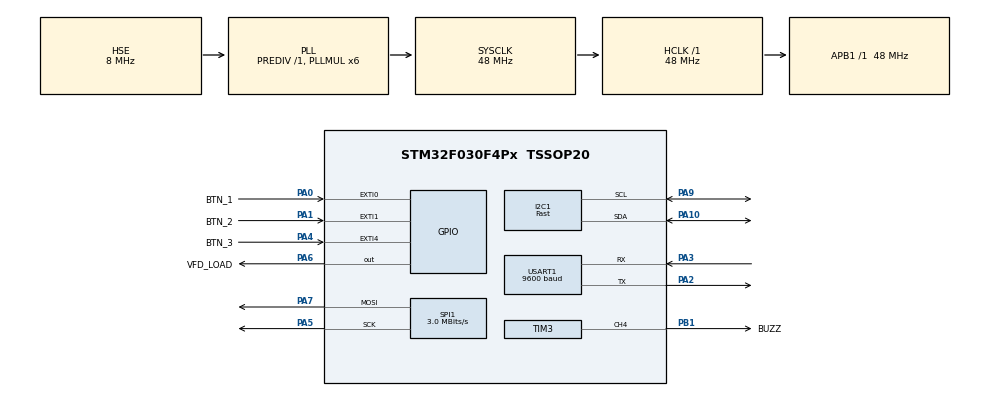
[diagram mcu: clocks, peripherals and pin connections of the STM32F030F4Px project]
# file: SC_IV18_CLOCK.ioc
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I2C1.I2C_Speed_Mode=I2C_Fast
I2C1.Timing=0x0090194B
Mcu.Family=STM32F0
Mcu.Name=STM32F030F4Px
Mcu.Package=TSSOP20
NVIC.EXTI0_1_IRQn=true\:0\:0\:false\:false\:true\:true\:true\:true
NVIC.EXTI4_15_IRQn=true\:0\:0\:false\:false\:true\:true\:true\:true
NVIC.I2C1_IRQn=true\:0\:0\:false\:false\:true\:true\:true\:true
NVIC.TIM14_IRQn=true\:0\:0\:true\:false\:true\:true\:true\:true
NVIC.TIM1_BRK_UP_TRG_COM_IRQn=true\:0\:0\:false\:false\:true\:true\:true\:true
NVIC.USART1_IRQn=true\:2\:0\:true\:false\:true\:true\:true\:true
PA0.GPIO_Label=BTN_1
PA0.Signal=GPXTI0
PA1.GPIO_Label=BTN_2
PA1.Signal=GPXTI1
PA10.GPIO_Pu=GPIO_PULLUP
PA10.Mode=I2C
PA10.Signal=I2C1_SDA
PA13.Mode=Serial_Wire
PA13.Signal=SYS_SWDIO
PA14.Mode=Serial_Wire
PA14.Signal=SYS_SWCLK
PA2.Mode=Asynchronous
PA2.Signal=USART1_TX
PA3.Mode=Asynchronous
PA3.Signal=USART1_RX
PA4.GPIO_Label=BTN_3
PA4.Signal=GPXTI4
PA5.Mode=TX_Only_Simplex_Unidirect_Master
PA5.Signal=SPI1_SCK
PA6.GPIO_Label=VFD_LOAD
PA6.GPIO_Speed=GPIO_SPEED_FREQ_MEDIUM
PA6.Signal=GPIO_Output
PA7.Mode=TX_Only_Simplex_Unidirect_Master
PA7.Signal=SPI1_MOSI
PA9.GPIO_Pu=GPIO_PULLUP
PA9.Mode=I2C
PA9.Signal=I2C1_SCL
PB1.GPIO_Label=BUZZ
PB1.Signal=S_TIM3_CH4
PF0-OSC_IN.Mode=HSE-External-Oscillator
PF0-OSC_IN.Signal=RCC_OSC_IN
PF1-OSC_OUT.Mode=HSE-External-Oscillator
PF1-OSC_OUT.Signal=RCC_OSC_OUT
ProjectManager.HeapSize=0x200
ProjectManager.StackSize=0x400
ProjectManager.TargetToolchain=STM32CubeIDE
RCC.AHBFreq_Value=48000000
RCC.APB1Freq_Value=48000000
RCC.APB1TimFreq_Value=48000000
RCC.HCLKFreq_Value=48000000
RCC.I2c1ClockSelection=RCC_I2C1CLKSOURCE_SYSCLK
RCC.PLLMUL=RCC_PLL_MUL6
RCC.PLLSourceVirtual=RCC_PLLSOURCE_HSE
RCC.SYSCLKFreq_VALUE=48000000
RCC.SYSCLKSource=RCC_SYSCLKSOURCE_PLLCLK
RCC.Usart1ClockSelection=RCC_USART1CLKSOURCE_SYSCLK
SH.S_TIM3_CH4.0=TIM3_CH4,PWM Generation4 CH4
SPI1.BaudRatePrescaler=SPI_BAUDRATEPRESCALER_16
SPI1.CalculateBaudRate=3.0 MBits/s
SPI1.DataSize=SPI_DATASIZE_8BIT
SPI1.Direction=SPI_DIRECTION_2LINES
SPI1.FirstBit=SPI_FIRSTBIT_MSB
SPI1.Mode=SPI_MODE_MASTER
SPI1.VirtualType=VM_MASTER
TIM1.Period=499
TIM1.Prescaler=48000-1
TIM1.TIM_MasterOutputTrigger=TIM_TRGO_UPDATE
TIM14.Period=124
TIM14.Prescaler=47
TIM3.Channel-PWM\ Generation4\ CH4=TIM_CHANNEL_4
TIM3.Period=200
TIM3.Prescaler=479
TIM3.Pulse-PWM\ Generation4\ CH4=120
USART1.BaudRate=9600
USART1.VirtualMode-Asynchronous=VM_ASYNC
VP_TIM14_VS_ClockSourceINT.Mode=Enable_Timer
VP_TIM1_VS_ClockSourceINT.Mode=Internal
board=custom

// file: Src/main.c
/* USER CODE BEGIN Header */
/**
 ******************************************************************************
 * @file           : main.c
 * @brief          : Main program body
 ******************************************************************************
 * @attention
 *
 * <h2><center>&copy; Copyright (c) 2019 STMicroelectronics.
 * All rights reserved.</center></h2>
 *
 * This software component is licensed by ST under BSD 3-Clause license,
 * the "License"; You may not use this file except in compliance with the
 * License. You may obtain a copy of the License at:
 *                        opensource.org/licenses/BSD-3-Clause
 *
 ******************************************************************************
 */
/* USER CODE END Header */
#include "main.h"
#include "i2c.h"
#include "spi.h"
#include "tim.h"
#include "usart.h"
#include "gpio.h"

/* USER CODE BEGIN Includes */

#include "ds3231.h"
#include "uart_at.h"

/* USER CODE END Includes */

/* USER CODE BEGIN PD */

#define VFD_LOAD_ON  HAL_GPIO_WritePin(VFD_LOAD_GPIO_Port, VFD_LOAD_Pin, GPIO_PIN_SET)
#define VFD_LOAD_OFF HAL_GPIO_WritePin(VFD_LOAD_GPIO_Port, VFD_LOAD_Pin, GPIO_PIN_RESET)

#define VFD_SEG_A 0b00000010
#define VFD_SEG_B 0b00000100
#define VFD_SEG_C 0b00001000
#define VFD_SEG_D 0b00010000
#define VFD_SEG_E 0b00100000
#define VFD_SEG_F 0b01000000
#define VFD_SEG_G 0b10000000

#define VFD_DIGIT_0 (VFD_SEG_A | VFD_SEG_B | VFD_SEG_C | VFD_SEG_D | VFD_SEG_E | VFD_SEG_F)
#define VFD_DIGIT_1 (VFD_SEG_B | VFD_SEG_C)
#define VFD_DIGIT_2 (VFD_SEG_A | VFD_SEG_B | VFD_SEG_D | VFD_SEG_E | VFD_SEG_G)
#define VFD_DIGIT_3 (VFD_SEG_A | VFD_SEG_B | VFD_SEG_C | VFD_SEG_D | VFD_SEG_G)
#define VFD_DIGIT_4 (VFD_SEG_B | VFD_SEG_C | VFD_SEG_F | VFD_SEG_G)
#define VFD_DIGIT_5 (VFD_SEG_A | VFD_SEG_C | VFD_SEG_D | VFD_SEG_F | VFD_SEG_G)
#define VFD_DIGIT_6 (VFD_SEG_A | VFD_SEG_C | VFD_SEG_D | VFD_SEG_E | VFD_SEG_F | VFD_SEG_G)
#define VFD_DIGIT_7 (VFD_SEG_A | VFD_SEG_B | VFD_SEG_C)
#define VFD_DIGIT_8 (VFD_SEG_A | VFD_SEG_B | VFD_SEG_C | VFD_SEG_D | VFD_SEG_E | VFD_SEG_F | VFD_SEG_G)
#define VFD_DIGIT_9 (VFD_SEG_A | VFD_SEG_B | VFD_SEG_C | VFD_SEG_D | VFD_SEG_F | VFD_SEG_G)

#define VFD_CHAR_MINUS  VFD_SEG_G
#define VFD_CHAR_DEGREE (VFD_SEG_A | VFD_SEG_B | VFD_SEG_F | VFD_SEG_G)
#define VFD_CHAR_C      (VFD_SEG_A | VFD_SEG_E | VFD_SEG_D | VFD_SEG_F)

#define MODE_SHOW_TIME     1
#define MODE_SHOW_DATE     2
#define MODE_SHOW_TEMP_DAY 3

#define RX_BUF_SIZE 64

// Settings modes - declared but not yet wired to UI.
// Kept here to show the planned state machine; see TODO in
// HAL_GPIO_EXTI_Callback for BTN_1 / BTN_2.
//
// Current firmware cycles BTN_3 only between MODE_SHOW_* (see below).
#define MODE_SETTINGS_TIME_HOURS       4
#define MODE_SETTINGS_TIME_MINUTES     5
#define MODE_SETTINGS_DATE_DAY         6
#define MODE_SETTINGS_DATE_MONTH       7
#define MODE_SETTINGS_DATE_YEAR        8
#define MODE_SETTINGS_DATE_DAY_OF_WEEK 9
#define MODE_SETTINGS_LAST_POSITION    MODE_SETTINGS_DATE_DAY_OF_WEEK

#define SELECTED_POSITION_FIRST  0
#define SELECTED_POSITION_SECOND 1
#define SELECTED_POSITION_THIRD  2
#define SELECTED_POSITION_LAST   SELECTED_POSITION_THIRD

#define MODE_TIMEOUT_TIME  35
#define MODE_TIMEOUT_DATE  9
#define MODE_TIMEOUT_OTHER 5

#define VFD_BR_MAX      8
#define BREATH_STEP_MS  90    // ms per step; 90 × 16 = 1.45 s/cycle
#define ANIM_STEP_MS    60
#define NOT_DIGIT_VALUE 0xFF
/* USER CODE END PD */

/* USER CODE BEGIN PV */
static const uint8_t VFD_GRIDS[] = {
    0,
    0b00000001,    //	1
    0b00000010,    //	2
    0b00000100,    //	3
    0b00001000,    //	4
    0b00010000,    //	5
    0b01000000,    //	6
    0b00100000,    //	7
    0b10000000,    //	8
};

static const uint8_t VFD_DIGITS[] = {VFD_DIGIT_0, VFD_DIGIT_1, VFD_DIGIT_2, VFD_DIGIT_3, VFD_DIGIT_4,
                                     VFD_DIGIT_5, VFD_DIGIT_6, VFD_DIGIT_7, VFD_DIGIT_8, VFD_DIGIT_9};

static const uint8_t gamma_lut[] = {1, 1, 2, 3, 4, 5, 6, 8, 8, 6, 5, 4, 3, 2, 1, 1};

#define GAMMA_STEPS (sizeof(gamma_lut))

static uint8_t breathIdx = 0;
static uint32_t lastBreathTick = 0;

typedef struct {
    uint8_t segments;    // VFD_DIGIT_x / VFD_CHAR_x / 0
    uint8_t dot;
    uint8_t brightness;    // 0..VFD_BR_MAX; for digits always = VFD_BR_MAX
} VfdCell;

volatile VfdCell frame[9];
volatile uint8_t curGrid = 1;

volatile uint8_t vfdBuf[3];

volatile uint8_t rxBuf[RX_BUF_SIZE];
volatile uint8_t rxHead = 0;
volatile uint8_t rxTail = 0;
volatile uint8_t echoEnabled = 1;    // ATE1/ATE0

volatile uint8_t selectedPos = SELECTED_POSITION_FIRST;
volatile uint8_t blinkers;
volatile uint8_t currentMode = MODE_SHOW_TIME;
volatile uint8_t modeTimeout = 0;
volatile uint8_t halfSeconds = 0;
volatile uint8_t shouldReadDS3231 = 0;

static uint8_t pwmPhase = 0;    // 0..VFD_BR_MAX-1, one step per frame

static uint8_t animationDigitCurrent[9];
static uint8_t animationDigitTarget[9];
static uint8_t isAnimationInProgress = 0;
static uint32_t lastAnimationTick = 0;

volatile uint8_t pendingMode = 0;
volatile uint8_t pendingTransition = 0;

/* USER CODE END PV */

void SystemClock_Config(void);
/* USER CODE BEGIN PFP */
static inline void vfd_multiplex_tick(void);
static void build_frame(void);
static uint8_t breathing_level(void);
static void anim_start(uint8_t targetMode);
static void anim_step(void);
static uint8_t fwd_dist(uint8_t a, uint8_t b);
static void fill_target_digits(uint8_t mode, uint8_t *t);
/* USER CODE END PFP */

/* USER CODE BEGIN 0 */
void HAL_GPIO_EXTI_Callback(uint16_t GPIO_Pin) {
    switch (GPIO_Pin) {
    case BTN_1_Pin:
        // TODO: select next position within current settings mode
        //       (see MODE_SETTINGS_* and selectedPos in this file).
        break;

    case BTN_2_Pin:
        // TODO: change value at selectedPos (increment / decrement
        //       depending on long/short press, with debounce).
        break;

    case BTN_3_Pin:
        currentMode++;

        // TODO: extend upper bound to MODE_SETTINGS_LAST_POSITION
        //       when settings UI (BTN_1 / BTN_2 handling) is implemented.
        if (currentMode > MODE_SHOW_TEMP_DAY) {
            currentMode = MODE_SHOW_TIME;
        }
        break;
    }
}

void HAL_TIM_PeriodElapsedCallback(TIM_HandleTypeDef *htim) {
    if (htim->Instance == TIM14) {
        vfd_multiplex_tick();

        return;
    }

    if (htim->Instance == TIM1) {
        blinkers ^= 1 << 1;
        modeTimeout++;
        halfSeconds++;

        if (halfSeconds == 2) {
            halfSeconds = 0;
            shouldReadDS3231 = 1;
        }

        switch (currentMode) {
        case MODE_SHOW_TIME:
            if (modeTimeout == MODE_TIMEOUT_TIME) {
                modeTimeout = 0;
                pendingMode = MODE_SHOW_DATE;
                pendingTransition = 1;
            }
            break;
        case MODE_SHOW_DATE:
            if (modeTimeout == MODE_TIMEOUT_DATE) {
                modeTimeout = 0;
                pendingMode = MODE_SHOW_TEMP_DAY;
                pendingTransition = 1;
            }
            break;
        case MODE_SHOW_TEMP_DAY:
            if (modeTimeout == MODE_TIMEOUT_OTHER) {
                modeTimeout = 0;
                pendingMode = MODE_SHOW_TIME;
                pendingTransition = 1;
            }
            break;
        }
    }
}

static uint8_t breathing_level(void) {
    uint32_t now = HAL_GetTick();

    if (now - lastBreathTick >= BREATH_STEP_MS) {
        lastBreathTick = now;
        if (++breathIdx >= GAMMA_STEPS)
            breathIdx = 0;
    }

    return gamma_lut[breathIdx];
}

static inline void spi_send3(void) {
    for (uint8_t i = 0; i < 3; i++) {
        while (!LL_SPI_IsActiveFlag_TXE(SPI1)) {
        }

        LL_SPI_TransmitData8(SPI1, vfdBuf[i]);
    }

    // wait for end before latch
    while (LL_SPI_IsActiveFlag_BSY(SPI1)) {
    }
}

static uint8_t fwd_dist(uint8_t a, uint8_t b) {
    return (uint8_t)((b + 10 - a) % 10);
}

static void anim_step(void) {
    if (!isAnimationInProgress) {
        return;
    }

    uint32_t now = HAL_GetTick();
    if (now - lastAnimationTick < ANIM_STEP_MS) {
        return;
    }

    lastAnimationTick = now;

    uint8_t anyMoving = 0;

    for (uint8_t i = 1; i <= 8; i++) {
        if (animationDigitTarget[i] == NOT_DIGIT_VALUE) {
            continue;
        }

        if (animationDigitCurrent[i] == animationDigitTarget[i]) {
            continue;
        }

        uint8_t up = fwd_dist(animationDigitCurrent[i], animationDigitTarget[i]);
        uint8_t down = (uint8_t)(10 - up);

        if (up <= down) {
            animationDigitCurrent[i] = (uint8_t)((animationDigitCurrent[i] + 1) % 10);
        } else {
            animationDigitCurrent[i] = (uint8_t)((animationDigitCurrent[i] + 9) % 10);
        }

        anyMoving = 1;
    }

    if (!anyMoving) {
        isAnimationInProgress = 0;
        currentMode = pendingMode;
    }
}

static void anim_start(uint8_t targetMode) {
    uint8_t src[9];

    fill_target_digits(currentMode, src);
    fill_target_digits(targetMode, animationDigitTarget);

    for (uint8_t i = 1; i <= 8; i++) {
        animationDigitCurrent[i] = (src[i] == NOT_DIGIT_VALUE) ? 0 : src[i];
    }

    isAnimationInProgress = 1;
    lastAnimationTick = HAL_GetTick();
}

static void fill_target_digits(uint8_t mode, uint8_t *t) {
    for (uint8_t i = 1; i <= 8; i++) {
        t[i] = NOT_DIGIT_VALUE;    // по умолчанию — не участвует
    }

    switch (mode) {
    case MODE_SHOW_TIME:
        t[8] = ds3231_Time.hour / 10;
        t[7] = ds3231_Time.hour % 10;

        t[5] = ds3231_Time.minutes / 10;
        t[4] = ds3231_Time.minutes % 10;

        t[2] = ds3231_Time.seconds / 10;
        t[1] = ds3231_Time.seconds % 10;
        break;

    case MODE_SHOW_DATE:
        t[8] = ds3231_Date.date / 10;
        t[7] = ds3231_Date.date % 10;
        t[6] = ds3231_Date.month / 10;
        t[5] = ds3231_Date.month % 10;
        t[4] = 2;
        t[3] = 0;
        t[2] = ds3231_Date.year / 10;
        t[1] = ds3231_Date.year % 10;
        break;

    case MODE_SHOW_TEMP_DAY:
        t[8] = ds3231_Temp.temp_1 / 10;
        t[7] = ds3231_Temp.temp_1 % 10;

        t[1] = ds3231_Date.day;
        break;
    }
}

static inline void vfd_multiplex_tick(void) {
    uint8_t seg = frame[curGrid].segments;
    uint8_t dot = frame[curGrid].dot;

    if (frame[curGrid].brightness <= pwmPhase) {
        seg = 0;
        dot = 0;
    }

    vfdBuf[2] = VFD_GRIDS[curGrid];
    vfdBuf[1] = seg;
    vfdBuf[0] = dot;

    VFD_LOAD_OFF;

    spi_send3();

    VFD_LOAD_ON;

    if (++curGrid > 8) {
        curGrid = 1;

        if (++pwmPhase >= VFD_BR_MAX) {
            pwmPhase = 0;
        }
    }
}

static void build_frame(void) {
    VfdCell f[9];
    for (uint8_t i = 1; i <= 8; i++) {
        f[i].segments = 0;
        f[i].dot = 0;
        f[i].brightness = VFD_BR_MAX;
    }

    if (isAnimationInProgress) {
        for (uint8_t i = 1; i <= 8; i++) {
            if (animationDigitTarget[i] != NOT_DIGIT_VALUE) {
                f[i].segments = VFD_DIGITS[animationDigitCurrent[i]];
            }
        }
    } else {
        uint8_t br = breathing_level();

        switch (currentMode) {
        case MODE_SHOW_TIME:
            f[8].segments = VFD_DIGITS[ds3231_Time.hour / 10];
            f[7].segments = VFD_DIGITS[ds3231_Time.hour % 10];
            f[6].segments = VFD_CHAR_MINUS;
            f[6].brightness = br;

            f[5].segments = VFD_DIGITS[ds3231_Time.minutes / 10];
            f[4].segments = VFD_DIGITS[ds3231_Time.minutes % 10];
            f[3].segments = VFD_CHAR_MINUS;
            f[3].brightness = br;

            f[2].segments = VFD_DIGITS[ds3231_Time.seconds / 10];
            f[1].segments = VFD_DIGITS[ds3231_Time.seconds % 10];
            break;
        case MODE_SHOW_DATE:
            f[8].segments = VFD_DIGITS[ds3231_Date.date / 10];
            f[7].segments = VFD_DIGITS[ds3231_Date.date % 10];

            f[7].dot = (blinkers ? 0 : 1);

            f[6].segments = VFD_DIGITS[ds3231_Date.month / 10];
            f[5].segments = VFD_DIGITS[ds3231_Date.month % 10];

            f[5].dot = (blinkers ? 0 : 1);

            f[4].segments = VFD_DIGITS[2];
            f[3].segments = VFD_DIGITS[0];

            f[2].segments = VFD_DIGITS[ds3231_Date.year / 10];
            f[1].segments = VFD_DIGITS[ds3231_Date.year % 10];
            break;
        case MODE_SHOW_TEMP_DAY:
            f[8].segments = VFD_DIGITS[ds3231_Temp.temp_1 / 10];
            f[7].segments = VFD_DIGITS[ds3231_Temp.temp_1 % 10];

            f[6].segments = VFD_CHAR_DEGREE;
            f[5].segments = VFD_CHAR_C;

            f[1].segments = VFD_DIGITS[ds3231_Date.day];
            break;
        }
    }

    __disable_irq();

    for (uint8_t i = 1; i <= 8; i++) {
        frame[i] = f[i];
    }

    __enable_irq();
}

/* USER CODE END 0 */

int main(void) {

    /* MCU Configuration--------------------------------------------------------*/

    /* Reset of all peripherals, Initializes the Flash interface and the Systick. */
    HAL_Init();

    /* Configure the system clock */
    SystemClock_Config();

    /* Initialize all configured peripherals */
    MX_GPIO_Init();
    MX_SPI1_Init();
    MX_I2C1_Init();
    MX_TIM3_Init();
    MX_USART1_UART_Init();
    MX_TIM1_Init();
    MX_TIM14_Init();
    /* USER CODE BEGIN 2 */
    UART_AT_Init();

    VFD_LOAD_OFF;

    // First-flash seeding of the RTC.
    //
    // Uncomment the DS3231_ReadData() line below, flash, let the device run once,
    // then comment it back and flash again. Otherwise the RTC
    // will be re-seeded on every reset.
    //
    // Arguments: year, month, date, day_of_week, hour, minutes, seconds
    //
    //     DS3231_SetDateTime(26, 6, 29, 1, 1, 36, 45);
    //
    // Also see AT+DATE/AT+TIME/AT+DOW in uart_at.c

    DS3231_ReadData();

    HAL_TIM_Base_Start_IT(&htim1);
    HAL_TIM_Base_Start_IT(&htim14);

    /* USER CODE END 2 */

    /* Infinite loop */
    while (1) {

        /* USER CODE BEGIN 3 */
        if (!isAnimationInProgress && shouldReadDS3231) {    // во время анимации DS3231 не читаем
            shouldReadDS3231 = 0;
            DS3231_ReadData();
        }

        if (pendingTransition && !isAnimationInProgress) {
            pendingTransition = 0;
            anim_start(pendingMode);
        }

        anim_step();
        UART_AT_Poll();
        build_frame();
    }
    /* USER CODE END 3 */
}

void SystemClock_Config(void) {
    RCC_OscInitTypeDef RCC_OscInitStruct = {0};
    RCC_ClkInitTypeDef RCC_ClkInitStruct = {0};
    RCC_PeriphCLKInitTypeDef PeriphClkInit = {0};

    /** Initializes the RCC Oscillators according to the specified parameters
  * in the RCC_OscInitTypeDef structure.
  */
    RCC_OscInitStruct.OscillatorType = RCC_OSCILLATORTYPE_HSE;
    RCC_OscInitStruct.HSEState = RCC_HSE_ON;
    RCC_OscInitStruct.PLL.PLLState = RCC_PLL_ON;
    RCC_OscInitStruct.PLL.PLLSource = RCC_PLLSOURCE_HSE;
    RCC_OscInitStruct.PLL.PLLMUL = RCC_PLL_MUL6;
    RCC_OscInitStruct.PLL.PREDIV = RCC_PREDIV_DIV1;
    if (HAL_RCC_OscConfig(&RCC_OscInitStruct) != HAL_OK) {
        Error_Handler();
    }

    /** Initializes the CPU, AHB and APB buses clocks
  */
    RCC_ClkInitStruct.ClockType = RCC_CLOCKTYPE_HCLK | RCC_CLOCKTYPE_SYSCLK | RCC_CLOCKTYPE_PCLK1;
    RCC_ClkInitStruct.SYSCLKSource = RCC_SYSCLKSOURCE_PLLCLK;
    RCC_ClkInitStruct.AHBCLKDivider = RCC_SYSCLK_DIV1;
    RCC_ClkInitStruct.APB1CLKDivider = RCC_HCLK_DIV1;

    if (HAL_RCC_ClockConfig(&RCC_ClkInitStruct, FLASH_LATENCY_1) != HAL_OK) {
        Error_Handler();
    }
    PeriphClkInit.PeriphClockSelection = RCC_PERIPHCLK_USART1 | RCC_PERIPHCLK_I2C1;
    PeriphClkInit.Usart1ClockSelection = RCC_USART1CLKSOURCE_SYSCLK;
    PeriphClkInit.I2c1ClockSelection = RCC_I2C1CLKSOURCE_SYSCLK;
    if (HAL_RCCEx_PeriphCLKConfig(&PeriphClkInit) != HAL_OK) {
        Error_Handler();
    }
}

void Error_Handler(void) {
    __disable_irq();
    while (1) {
    }
}
